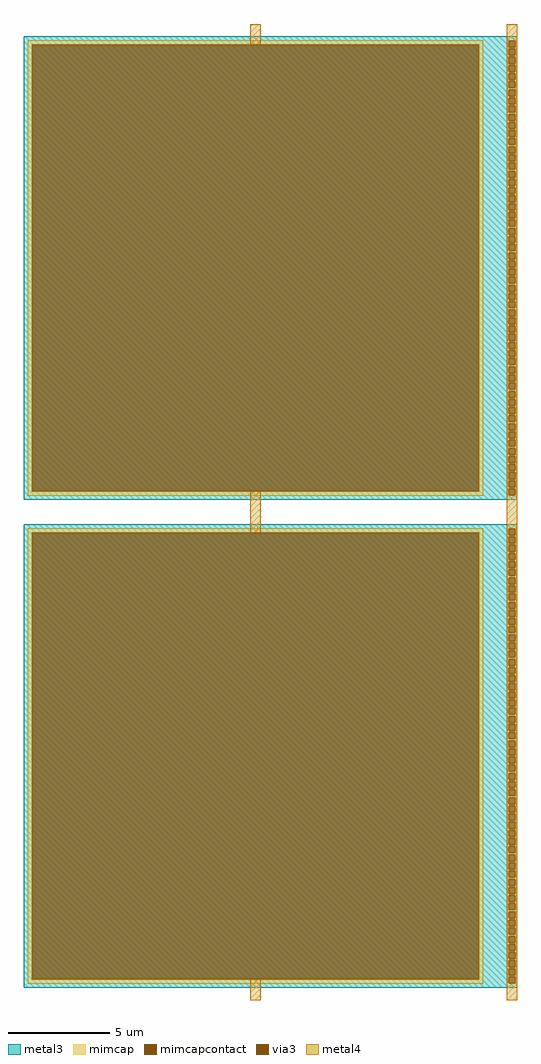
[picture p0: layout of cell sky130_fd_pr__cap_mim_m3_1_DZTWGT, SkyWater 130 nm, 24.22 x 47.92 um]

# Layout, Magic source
magic
tech sky130A
magscale 1 2
<< metal3 >>
rect -2422 4628 2422 4672
rect -2422 4564 2338 4628
rect 2402 4564 2422 4628
rect -2422 4548 2422 4564
rect -2422 4484 2338 4548
rect 2402 4484 2422 4548
rect -2422 4468 2422 4484
rect -2422 4404 2338 4468
rect 2402 4404 2422 4468
rect -2422 4388 2422 4404
rect -2422 4324 2338 4388
rect 2402 4324 2422 4388
rect -2422 4308 2422 4324
rect -2422 4244 2338 4308
rect 2402 4244 2422 4308
rect -2422 4228 2422 4244
rect -2422 4164 2338 4228
rect 2402 4164 2422 4228
rect -2422 4148 2422 4164
rect -2422 4084 2338 4148
rect 2402 4084 2422 4148
rect -2422 4068 2422 4084
rect -2422 4004 2338 4068
rect 2402 4004 2422 4068
rect -2422 3988 2422 4004
rect -2422 3924 2338 3988
rect 2402 3924 2422 3988
rect -2422 3908 2422 3924
rect -2422 3844 2338 3908
rect 2402 3844 2422 3908
rect -2422 3828 2422 3844
rect -2422 3764 2338 3828
rect 2402 3764 2422 3828
rect -2422 3748 2422 3764
rect -2422 3684 2338 3748
rect 2402 3684 2422 3748
rect -2422 3668 2422 3684
rect -2422 3604 2338 3668
rect 2402 3604 2422 3668
rect -2422 3588 2422 3604
rect -2422 3524 2338 3588
rect 2402 3524 2422 3588
rect -2422 3508 2422 3524
rect -2422 3444 2338 3508
rect 2402 3444 2422 3508
rect -2422 3428 2422 3444
rect -2422 3364 2338 3428
rect 2402 3364 2422 3428
rect -2422 3348 2422 3364
rect -2422 3284 2338 3348
rect 2402 3284 2422 3348
rect -2422 3268 2422 3284
rect -2422 3204 2338 3268
rect 2402 3204 2422 3268
rect -2422 3188 2422 3204
rect -2422 3124 2338 3188
rect 2402 3124 2422 3188
rect -2422 3108 2422 3124
rect -2422 3044 2338 3108
rect 2402 3044 2422 3108
rect -2422 3028 2422 3044
rect -2422 2964 2338 3028
rect 2402 2964 2422 3028
rect -2422 2948 2422 2964
rect -2422 2884 2338 2948
rect 2402 2884 2422 2948
rect -2422 2868 2422 2884
rect -2422 2804 2338 2868
rect 2402 2804 2422 2868
rect -2422 2788 2422 2804
rect -2422 2724 2338 2788
rect 2402 2724 2422 2788
rect -2422 2708 2422 2724
rect -2422 2644 2338 2708
rect 2402 2644 2422 2708
rect -2422 2628 2422 2644
rect -2422 2564 2338 2628
rect 2402 2564 2422 2628
rect -2422 2548 2422 2564
rect -2422 2484 2338 2548
rect 2402 2484 2422 2548
rect -2422 2468 2422 2484
rect -2422 2404 2338 2468
rect 2402 2404 2422 2468
rect -2422 2388 2422 2404
rect -2422 2324 2338 2388
rect 2402 2324 2422 2388
rect -2422 2308 2422 2324
rect -2422 2244 2338 2308
rect 2402 2244 2422 2308
rect -2422 2228 2422 2244
rect -2422 2164 2338 2228
rect 2402 2164 2422 2228
rect -2422 2148 2422 2164
rect -2422 2084 2338 2148
rect 2402 2084 2422 2148
rect -2422 2068 2422 2084
rect -2422 2004 2338 2068
rect 2402 2004 2422 2068
rect -2422 1988 2422 2004
rect -2422 1924 2338 1988
rect 2402 1924 2422 1988
rect -2422 1908 2422 1924
rect -2422 1844 2338 1908
rect 2402 1844 2422 1908
rect -2422 1828 2422 1844
rect -2422 1764 2338 1828
rect 2402 1764 2422 1828
rect -2422 1748 2422 1764
rect -2422 1684 2338 1748
rect 2402 1684 2422 1748
rect -2422 1668 2422 1684
rect -2422 1604 2338 1668
rect 2402 1604 2422 1668
rect -2422 1588 2422 1604
rect -2422 1524 2338 1588
rect 2402 1524 2422 1588
rect -2422 1508 2422 1524
rect -2422 1444 2338 1508
rect 2402 1444 2422 1508
rect -2422 1428 2422 1444
rect -2422 1364 2338 1428
rect 2402 1364 2422 1428
rect -2422 1348 2422 1364
rect -2422 1284 2338 1348
rect 2402 1284 2422 1348
rect -2422 1268 2422 1284
rect -2422 1204 2338 1268
rect 2402 1204 2422 1268
rect -2422 1188 2422 1204
rect -2422 1124 2338 1188
rect 2402 1124 2422 1188
rect -2422 1108 2422 1124
rect -2422 1044 2338 1108
rect 2402 1044 2422 1108
rect -2422 1028 2422 1044
rect -2422 964 2338 1028
rect 2402 964 2422 1028
rect -2422 948 2422 964
rect -2422 884 2338 948
rect 2402 884 2422 948
rect -2422 868 2422 884
rect -2422 804 2338 868
rect 2402 804 2422 868
rect -2422 788 2422 804
rect -2422 724 2338 788
rect 2402 724 2422 788
rect -2422 708 2422 724
rect -2422 644 2338 708
rect 2402 644 2422 708
rect -2422 628 2422 644
rect -2422 564 2338 628
rect 2402 564 2422 628
rect -2422 548 2422 564
rect -2422 484 2338 548
rect 2402 484 2422 548
rect -2422 468 2422 484
rect -2422 404 2338 468
rect 2402 404 2422 468
rect -2422 388 2422 404
rect -2422 324 2338 388
rect 2402 324 2422 388
rect -2422 308 2422 324
rect -2422 244 2338 308
rect 2402 244 2422 308
rect -2422 228 2422 244
rect -2422 164 2338 228
rect 2402 164 2422 228
rect -2422 120 2422 164
rect -2422 -164 2422 -120
rect -2422 -228 2338 -164
rect 2402 -228 2422 -164
rect -2422 -244 2422 -228
rect -2422 -308 2338 -244
rect 2402 -308 2422 -244
rect -2422 -324 2422 -308
rect -2422 -388 2338 -324
rect 2402 -388 2422 -324
rect -2422 -404 2422 -388
rect -2422 -468 2338 -404
rect 2402 -468 2422 -404
rect -2422 -484 2422 -468
rect -2422 -548 2338 -484
rect 2402 -548 2422 -484
rect -2422 -564 2422 -548
rect -2422 -628 2338 -564
rect 2402 -628 2422 -564
rect -2422 -644 2422 -628
rect -2422 -708 2338 -644
rect 2402 -708 2422 -644
rect -2422 -724 2422 -708
rect -2422 -788 2338 -724
rect 2402 -788 2422 -724
rect -2422 -804 2422 -788
rect -2422 -868 2338 -804
rect 2402 -868 2422 -804
rect -2422 -884 2422 -868
rect -2422 -948 2338 -884
rect 2402 -948 2422 -884
rect -2422 -964 2422 -948
rect -2422 -1028 2338 -964
rect 2402 -1028 2422 -964
rect -2422 -1044 2422 -1028
rect -2422 -1108 2338 -1044
rect 2402 -1108 2422 -1044
rect -2422 -1124 2422 -1108
rect -2422 -1188 2338 -1124
rect 2402 -1188 2422 -1124
rect -2422 -1204 2422 -1188
rect -2422 -1268 2338 -1204
rect 2402 -1268 2422 -1204
rect -2422 -1284 2422 -1268
rect -2422 -1348 2338 -1284
rect 2402 -1348 2422 -1284
rect -2422 -1364 2422 -1348
rect -2422 -1428 2338 -1364
rect 2402 -1428 2422 -1364
rect -2422 -1444 2422 -1428
rect -2422 -1508 2338 -1444
rect 2402 -1508 2422 -1444
rect -2422 -1524 2422 -1508
rect -2422 -1588 2338 -1524
rect 2402 -1588 2422 -1524
rect -2422 -1604 2422 -1588
rect -2422 -1668 2338 -1604
rect 2402 -1668 2422 -1604
rect -2422 -1684 2422 -1668
rect -2422 -1748 2338 -1684
rect 2402 -1748 2422 -1684
rect -2422 -1764 2422 -1748
rect -2422 -1828 2338 -1764
rect 2402 -1828 2422 -1764
rect -2422 -1844 2422 -1828
rect -2422 -1908 2338 -1844
rect 2402 -1908 2422 -1844
rect -2422 -1924 2422 -1908
rect -2422 -1988 2338 -1924
rect 2402 -1988 2422 -1924
rect -2422 -2004 2422 -1988
rect -2422 -2068 2338 -2004
rect 2402 -2068 2422 -2004
rect -2422 -2084 2422 -2068
rect -2422 -2148 2338 -2084
rect 2402 -2148 2422 -2084
rect -2422 -2164 2422 -2148
rect -2422 -2228 2338 -2164
rect 2402 -2228 2422 -2164
rect -2422 -2244 2422 -2228
rect -2422 -2308 2338 -2244
rect 2402 -2308 2422 -2244
rect -2422 -2324 2422 -2308
rect -2422 -2388 2338 -2324
rect 2402 -2388 2422 -2324
rect -2422 -2404 2422 -2388
rect -2422 -2468 2338 -2404
rect 2402 -2468 2422 -2404
rect -2422 -2484 2422 -2468
rect -2422 -2548 2338 -2484
rect 2402 -2548 2422 -2484
rect -2422 -2564 2422 -2548
rect -2422 -2628 2338 -2564
rect 2402 -2628 2422 -2564
rect -2422 -2644 2422 -2628
rect -2422 -2708 2338 -2644
rect 2402 -2708 2422 -2644
rect -2422 -2724 2422 -2708
rect -2422 -2788 2338 -2724
rect 2402 -2788 2422 -2724
rect -2422 -2804 2422 -2788
rect -2422 -2868 2338 -2804
rect 2402 -2868 2422 -2804
rect -2422 -2884 2422 -2868
rect -2422 -2948 2338 -2884
rect 2402 -2948 2422 -2884
rect -2422 -2964 2422 -2948
rect -2422 -3028 2338 -2964
rect 2402 -3028 2422 -2964
rect -2422 -3044 2422 -3028
rect -2422 -3108 2338 -3044
rect 2402 -3108 2422 -3044
rect -2422 -3124 2422 -3108
rect -2422 -3188 2338 -3124
rect 2402 -3188 2422 -3124
rect -2422 -3204 2422 -3188
rect -2422 -3268 2338 -3204
rect 2402 -3268 2422 -3204
rect -2422 -3284 2422 -3268
rect -2422 -3348 2338 -3284
rect 2402 -3348 2422 -3284
rect -2422 -3364 2422 -3348
rect -2422 -3428 2338 -3364
rect 2402 -3428 2422 -3364
rect -2422 -3444 2422 -3428
rect -2422 -3508 2338 -3444
rect 2402 -3508 2422 -3444
rect -2422 -3524 2422 -3508
rect -2422 -3588 2338 -3524
rect 2402 -3588 2422 -3524
rect -2422 -3604 2422 -3588
rect -2422 -3668 2338 -3604
rect 2402 -3668 2422 -3604
rect -2422 -3684 2422 -3668
rect -2422 -3748 2338 -3684
rect 2402 -3748 2422 -3684
rect -2422 -3764 2422 -3748
rect -2422 -3828 2338 -3764
rect 2402 -3828 2422 -3764
rect -2422 -3844 2422 -3828
rect -2422 -3908 2338 -3844
rect 2402 -3908 2422 -3844
rect -2422 -3924 2422 -3908
rect -2422 -3988 2338 -3924
rect 2402 -3988 2422 -3924
rect -2422 -4004 2422 -3988
rect -2422 -4068 2338 -4004
rect 2402 -4068 2422 -4004
rect -2422 -4084 2422 -4068
rect -2422 -4148 2338 -4084
rect 2402 -4148 2422 -4084
rect -2422 -4164 2422 -4148
rect -2422 -4228 2338 -4164
rect 2402 -4228 2422 -4164
rect -2422 -4244 2422 -4228
rect -2422 -4308 2338 -4244
rect 2402 -4308 2422 -4244
rect -2422 -4324 2422 -4308
rect -2422 -4388 2338 -4324
rect 2402 -4388 2422 -4324
rect -2422 -4404 2422 -4388
rect -2422 -4468 2338 -4404
rect 2402 -4468 2422 -4404
rect -2422 -4484 2422 -4468
rect -2422 -4548 2338 -4484
rect 2402 -4548 2422 -4484
rect -2422 -4564 2422 -4548
rect -2422 -4628 2338 -4564
rect 2402 -4628 2422 -4564
rect -2422 -4672 2422 -4628
<< via3 >>
rect 2338 4564 2402 4628
rect 2338 4484 2402 4548
rect 2338 4404 2402 4468
rect 2338 4324 2402 4388
rect 2338 4244 2402 4308
rect 2338 4164 2402 4228
rect 2338 4084 2402 4148
rect 2338 4004 2402 4068
rect 2338 3924 2402 3988
rect 2338 3844 2402 3908
rect 2338 3764 2402 3828
rect 2338 3684 2402 3748
rect 2338 3604 2402 3668
rect 2338 3524 2402 3588
rect 2338 3444 2402 3508
rect 2338 3364 2402 3428
rect 2338 3284 2402 3348
rect 2338 3204 2402 3268
rect 2338 3124 2402 3188
rect 2338 3044 2402 3108
rect 2338 2964 2402 3028
rect 2338 2884 2402 2948
rect 2338 2804 2402 2868
rect 2338 2724 2402 2788
rect 2338 2644 2402 2708
rect 2338 2564 2402 2628
rect 2338 2484 2402 2548
rect 2338 2404 2402 2468
rect 2338 2324 2402 2388
rect 2338 2244 2402 2308
rect 2338 2164 2402 2228
rect 2338 2084 2402 2148
rect 2338 2004 2402 2068
rect 2338 1924 2402 1988
rect 2338 1844 2402 1908
rect 2338 1764 2402 1828
rect 2338 1684 2402 1748
rect 2338 1604 2402 1668
rect 2338 1524 2402 1588
rect 2338 1444 2402 1508
rect 2338 1364 2402 1428
rect 2338 1284 2402 1348
rect 2338 1204 2402 1268
rect 2338 1124 2402 1188
rect 2338 1044 2402 1108
rect 2338 964 2402 1028
rect 2338 884 2402 948
rect 2338 804 2402 868
rect 2338 724 2402 788
rect 2338 644 2402 708
rect 2338 564 2402 628
rect 2338 484 2402 548
rect 2338 404 2402 468
rect 2338 324 2402 388
rect 2338 244 2402 308
rect 2338 164 2402 228
rect 2338 -228 2402 -164
rect 2338 -308 2402 -244
rect 2338 -388 2402 -324
rect 2338 -468 2402 -404
rect 2338 -548 2402 -484
rect 2338 -628 2402 -564
rect 2338 -708 2402 -644
rect 2338 -788 2402 -724
rect 2338 -868 2402 -804
rect 2338 -948 2402 -884
rect 2338 -1028 2402 -964
rect 2338 -1108 2402 -1044
rect 2338 -1188 2402 -1124
rect 2338 -1268 2402 -1204
rect 2338 -1348 2402 -1284
rect 2338 -1428 2402 -1364
rect 2338 -1508 2402 -1444
rect 2338 -1588 2402 -1524
rect 2338 -1668 2402 -1604
rect 2338 -1748 2402 -1684
rect 2338 -1828 2402 -1764
rect 2338 -1908 2402 -1844
rect 2338 -1988 2402 -1924
rect 2338 -2068 2402 -2004
rect 2338 -2148 2402 -2084
rect 2338 -2228 2402 -2164
rect 2338 -2308 2402 -2244
rect 2338 -2388 2402 -2324
rect 2338 -2468 2402 -2404
rect 2338 -2548 2402 -2484
rect 2338 -2628 2402 -2564
rect 2338 -2708 2402 -2644
rect 2338 -2788 2402 -2724
rect 2338 -2868 2402 -2804
rect 2338 -2948 2402 -2884
rect 2338 -3028 2402 -2964
rect 2338 -3108 2402 -3044
rect 2338 -3188 2402 -3124
rect 2338 -3268 2402 -3204
rect 2338 -3348 2402 -3284
rect 2338 -3428 2402 -3364
rect 2338 -3508 2402 -3444
rect 2338 -3588 2402 -3524
rect 2338 -3668 2402 -3604
rect 2338 -3748 2402 -3684
rect 2338 -3828 2402 -3764
rect 2338 -3908 2402 -3844
rect 2338 -3988 2402 -3924
rect 2338 -4068 2402 -4004
rect 2338 -4148 2402 -4084
rect 2338 -4228 2402 -4164
rect 2338 -4308 2402 -4244
rect 2338 -4388 2402 -4324
rect 2338 -4468 2402 -4404
rect 2338 -4548 2402 -4484
rect 2338 -4628 2402 -4564
<< mimcap >>
rect -2382 4588 2090 4632
rect -2382 204 -2338 4588
rect 2046 204 2090 4588
rect -2382 160 2090 204
rect -2382 -204 2090 -160
rect -2382 -4588 -2338 -204
rect 2046 -4588 2090 -204
rect -2382 -4632 2090 -4588
<< mimcapcontact >>
rect -2338 204 2046 4588
rect -2338 -4588 2046 -204
<< metal4 >>
rect -198 4593 -94 4792
rect 2318 4628 2422 4792
rect -2343 4588 2051 4593
rect -2343 204 -2338 4588
rect 2046 204 2051 4588
rect -2343 199 2051 204
rect 2318 4564 2338 4628
rect 2402 4564 2422 4628
rect 2318 4548 2422 4564
rect 2318 4484 2338 4548
rect 2402 4484 2422 4548
rect 2318 4468 2422 4484
rect 2318 4404 2338 4468
rect 2402 4404 2422 4468
rect 2318 4388 2422 4404
rect 2318 4324 2338 4388
rect 2402 4324 2422 4388
rect 2318 4308 2422 4324
rect 2318 4244 2338 4308
rect 2402 4244 2422 4308
rect 2318 4228 2422 4244
rect 2318 4164 2338 4228
rect 2402 4164 2422 4228
rect 2318 4148 2422 4164
rect 2318 4084 2338 4148
rect 2402 4084 2422 4148
rect 2318 4068 2422 4084
rect 2318 4004 2338 4068
rect 2402 4004 2422 4068
rect 2318 3988 2422 4004
rect 2318 3924 2338 3988
rect 2402 3924 2422 3988
rect 2318 3908 2422 3924
rect 2318 3844 2338 3908
rect 2402 3844 2422 3908
rect 2318 3828 2422 3844
rect 2318 3764 2338 3828
rect 2402 3764 2422 3828
rect 2318 3748 2422 3764
rect 2318 3684 2338 3748
rect 2402 3684 2422 3748
rect 2318 3668 2422 3684
rect 2318 3604 2338 3668
rect 2402 3604 2422 3668
rect 2318 3588 2422 3604
rect 2318 3524 2338 3588
rect 2402 3524 2422 3588
rect 2318 3508 2422 3524
rect 2318 3444 2338 3508
rect 2402 3444 2422 3508
rect 2318 3428 2422 3444
rect 2318 3364 2338 3428
rect 2402 3364 2422 3428
rect 2318 3348 2422 3364
rect 2318 3284 2338 3348
rect 2402 3284 2422 3348
rect 2318 3268 2422 3284
rect 2318 3204 2338 3268
rect 2402 3204 2422 3268
rect 2318 3188 2422 3204
rect 2318 3124 2338 3188
rect 2402 3124 2422 3188
rect 2318 3108 2422 3124
rect 2318 3044 2338 3108
rect 2402 3044 2422 3108
rect 2318 3028 2422 3044
rect 2318 2964 2338 3028
rect 2402 2964 2422 3028
rect 2318 2948 2422 2964
rect 2318 2884 2338 2948
rect 2402 2884 2422 2948
rect 2318 2868 2422 2884
rect 2318 2804 2338 2868
rect 2402 2804 2422 2868
rect 2318 2788 2422 2804
rect 2318 2724 2338 2788
rect 2402 2724 2422 2788
rect 2318 2708 2422 2724
rect 2318 2644 2338 2708
rect 2402 2644 2422 2708
rect 2318 2628 2422 2644
rect 2318 2564 2338 2628
rect 2402 2564 2422 2628
rect 2318 2548 2422 2564
rect 2318 2484 2338 2548
rect 2402 2484 2422 2548
rect 2318 2468 2422 2484
rect 2318 2404 2338 2468
rect 2402 2404 2422 2468
rect 2318 2388 2422 2404
rect 2318 2324 2338 2388
rect 2402 2324 2422 2388
rect 2318 2308 2422 2324
rect 2318 2244 2338 2308
rect 2402 2244 2422 2308
rect 2318 2228 2422 2244
rect 2318 2164 2338 2228
rect 2402 2164 2422 2228
rect 2318 2148 2422 2164
rect 2318 2084 2338 2148
rect 2402 2084 2422 2148
rect 2318 2068 2422 2084
rect 2318 2004 2338 2068
rect 2402 2004 2422 2068
rect 2318 1988 2422 2004
rect 2318 1924 2338 1988
rect 2402 1924 2422 1988
rect 2318 1908 2422 1924
rect 2318 1844 2338 1908
rect 2402 1844 2422 1908
rect 2318 1828 2422 1844
rect 2318 1764 2338 1828
rect 2402 1764 2422 1828
rect 2318 1748 2422 1764
rect 2318 1684 2338 1748
rect 2402 1684 2422 1748
rect 2318 1668 2422 1684
rect 2318 1604 2338 1668
rect 2402 1604 2422 1668
rect 2318 1588 2422 1604
rect 2318 1524 2338 1588
rect 2402 1524 2422 1588
rect 2318 1508 2422 1524
rect 2318 1444 2338 1508
rect 2402 1444 2422 1508
rect 2318 1428 2422 1444
rect 2318 1364 2338 1428
rect 2402 1364 2422 1428
rect 2318 1348 2422 1364
rect 2318 1284 2338 1348
rect 2402 1284 2422 1348
rect 2318 1268 2422 1284
rect 2318 1204 2338 1268
rect 2402 1204 2422 1268
rect 2318 1188 2422 1204
rect 2318 1124 2338 1188
rect 2402 1124 2422 1188
rect 2318 1108 2422 1124
rect 2318 1044 2338 1108
rect 2402 1044 2422 1108
rect 2318 1028 2422 1044
rect 2318 964 2338 1028
rect 2402 964 2422 1028
rect 2318 948 2422 964
rect 2318 884 2338 948
rect 2402 884 2422 948
rect 2318 868 2422 884
rect 2318 804 2338 868
rect 2402 804 2422 868
rect 2318 788 2422 804
rect 2318 724 2338 788
rect 2402 724 2422 788
rect 2318 708 2422 724
rect 2318 644 2338 708
rect 2402 644 2422 708
rect 2318 628 2422 644
rect 2318 564 2338 628
rect 2402 564 2422 628
rect 2318 548 2422 564
rect 2318 484 2338 548
rect 2402 484 2422 548
rect 2318 468 2422 484
rect 2318 404 2338 468
rect 2402 404 2422 468
rect 2318 388 2422 404
rect 2318 324 2338 388
rect 2402 324 2422 388
rect 2318 308 2422 324
rect 2318 244 2338 308
rect 2402 244 2422 308
rect 2318 228 2422 244
rect -198 -199 -94 199
rect 2318 164 2338 228
rect 2402 164 2422 228
rect 2318 -164 2422 164
rect -2343 -204 2051 -199
rect -2343 -4588 -2338 -204
rect 2046 -4588 2051 -204
rect -2343 -4593 2051 -4588
rect 2318 -228 2338 -164
rect 2402 -228 2422 -164
rect 2318 -244 2422 -228
rect 2318 -308 2338 -244
rect 2402 -308 2422 -244
rect 2318 -324 2422 -308
rect 2318 -388 2338 -324
rect 2402 -388 2422 -324
rect 2318 -404 2422 -388
rect 2318 -468 2338 -404
rect 2402 -468 2422 -404
rect 2318 -484 2422 -468
rect 2318 -548 2338 -484
rect 2402 -548 2422 -484
rect 2318 -564 2422 -548
rect 2318 -628 2338 -564
rect 2402 -628 2422 -564
rect 2318 -644 2422 -628
rect 2318 -708 2338 -644
rect 2402 -708 2422 -644
rect 2318 -724 2422 -708
rect 2318 -788 2338 -724
rect 2402 -788 2422 -724
rect 2318 -804 2422 -788
rect 2318 -868 2338 -804
rect 2402 -868 2422 -804
rect 2318 -884 2422 -868
rect 2318 -948 2338 -884
rect 2402 -948 2422 -884
rect 2318 -964 2422 -948
rect 2318 -1028 2338 -964
rect 2402 -1028 2422 -964
rect 2318 -1044 2422 -1028
rect 2318 -1108 2338 -1044
rect 2402 -1108 2422 -1044
rect 2318 -1124 2422 -1108
rect 2318 -1188 2338 -1124
rect 2402 -1188 2422 -1124
rect 2318 -1204 2422 -1188
rect 2318 -1268 2338 -1204
rect 2402 -1268 2422 -1204
rect 2318 -1284 2422 -1268
rect 2318 -1348 2338 -1284
rect 2402 -1348 2422 -1284
rect 2318 -1364 2422 -1348
rect 2318 -1428 2338 -1364
rect 2402 -1428 2422 -1364
rect 2318 -1444 2422 -1428
rect 2318 -1508 2338 -1444
rect 2402 -1508 2422 -1444
rect 2318 -1524 2422 -1508
rect 2318 -1588 2338 -1524
rect 2402 -1588 2422 -1524
rect 2318 -1604 2422 -1588
rect 2318 -1668 2338 -1604
rect 2402 -1668 2422 -1604
rect 2318 -1684 2422 -1668
rect 2318 -1748 2338 -1684
rect 2402 -1748 2422 -1684
rect 2318 -1764 2422 -1748
rect 2318 -1828 2338 -1764
rect 2402 -1828 2422 -1764
rect 2318 -1844 2422 -1828
rect 2318 -1908 2338 -1844
rect 2402 -1908 2422 -1844
rect 2318 -1924 2422 -1908
rect 2318 -1988 2338 -1924
rect 2402 -1988 2422 -1924
rect 2318 -2004 2422 -1988
rect 2318 -2068 2338 -2004
rect 2402 -2068 2422 -2004
rect 2318 -2084 2422 -2068
rect 2318 -2148 2338 -2084
rect 2402 -2148 2422 -2084
rect 2318 -2164 2422 -2148
rect 2318 -2228 2338 -2164
rect 2402 -2228 2422 -2164
rect 2318 -2244 2422 -2228
rect 2318 -2308 2338 -2244
rect 2402 -2308 2422 -2244
rect 2318 -2324 2422 -2308
rect 2318 -2388 2338 -2324
rect 2402 -2388 2422 -2324
rect 2318 -2404 2422 -2388
rect 2318 -2468 2338 -2404
rect 2402 -2468 2422 -2404
rect 2318 -2484 2422 -2468
rect 2318 -2548 2338 -2484
rect 2402 -2548 2422 -2484
rect 2318 -2564 2422 -2548
rect 2318 -2628 2338 -2564
rect 2402 -2628 2422 -2564
rect 2318 -2644 2422 -2628
rect 2318 -2708 2338 -2644
rect 2402 -2708 2422 -2644
rect 2318 -2724 2422 -2708
rect 2318 -2788 2338 -2724
rect 2402 -2788 2422 -2724
rect 2318 -2804 2422 -2788
rect 2318 -2868 2338 -2804
rect 2402 -2868 2422 -2804
rect 2318 -2884 2422 -2868
rect 2318 -2948 2338 -2884
rect 2402 -2948 2422 -2884
rect 2318 -2964 2422 -2948
rect 2318 -3028 2338 -2964
rect 2402 -3028 2422 -2964
rect 2318 -3044 2422 -3028
rect 2318 -3108 2338 -3044
rect 2402 -3108 2422 -3044
rect 2318 -3124 2422 -3108
rect 2318 -3188 2338 -3124
rect 2402 -3188 2422 -3124
rect 2318 -3204 2422 -3188
rect 2318 -3268 2338 -3204
rect 2402 -3268 2422 -3204
rect 2318 -3284 2422 -3268
rect 2318 -3348 2338 -3284
rect 2402 -3348 2422 -3284
rect 2318 -3364 2422 -3348
rect 2318 -3428 2338 -3364
rect 2402 -3428 2422 -3364
rect 2318 -3444 2422 -3428
rect 2318 -3508 2338 -3444
rect 2402 -3508 2422 -3444
rect 2318 -3524 2422 -3508
rect 2318 -3588 2338 -3524
rect 2402 -3588 2422 -3524
rect 2318 -3604 2422 -3588
rect 2318 -3668 2338 -3604
rect 2402 -3668 2422 -3604
rect 2318 -3684 2422 -3668
rect 2318 -3748 2338 -3684
rect 2402 -3748 2422 -3684
rect 2318 -3764 2422 -3748
rect 2318 -3828 2338 -3764
rect 2402 -3828 2422 -3764
rect 2318 -3844 2422 -3828
rect 2318 -3908 2338 -3844
rect 2402 -3908 2422 -3844
rect 2318 -3924 2422 -3908
rect 2318 -3988 2338 -3924
rect 2402 -3988 2422 -3924
rect 2318 -4004 2422 -3988
rect 2318 -4068 2338 -4004
rect 2402 -4068 2422 -4004
rect 2318 -4084 2422 -4068
rect 2318 -4148 2338 -4084
rect 2402 -4148 2422 -4084
rect 2318 -4164 2422 -4148
rect 2318 -4228 2338 -4164
rect 2402 -4228 2422 -4164
rect 2318 -4244 2422 -4228
rect 2318 -4308 2338 -4244
rect 2402 -4308 2422 -4244
rect 2318 -4324 2422 -4308
rect 2318 -4388 2338 -4324
rect 2402 -4388 2422 -4324
rect 2318 -4404 2422 -4388
rect 2318 -4468 2338 -4404
rect 2402 -4468 2422 -4404
rect 2318 -4484 2422 -4468
rect 2318 -4548 2338 -4484
rect 2402 -4548 2422 -4484
rect 2318 -4564 2422 -4548
rect -198 -4792 -94 -4593
rect 2318 -4628 2338 -4564
rect 2402 -4628 2422 -4564
rect 2318 -4792 2422 -4628
<< properties >>
string FIXED_BBOX -2422 120 2130 4672
<< end >>
